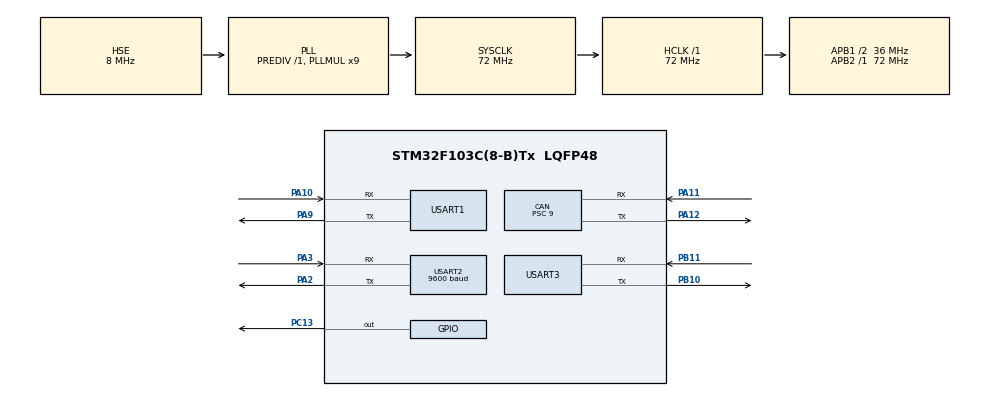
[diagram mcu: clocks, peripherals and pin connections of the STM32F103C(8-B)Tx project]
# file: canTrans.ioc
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CAN.BS1=CAN_BS1_5TQ
CAN.BS2=CAN_BS2_2TQ
CAN.CalculateBaudRate=500000
CAN.CalculateTimeBit=2000
CAN.CalculateTimeQuantum=250.0
CAN.Prescaler=9
FREERTOS.Tasks01=Task01,0,128,StartTask01,Default,NULL,Dynamic,NULL,NULL
Mcu.Family=STM32F1
Mcu.Name=STM32F103C(8-B)Tx
Mcu.Package=LQFP48
NVIC.PriorityGroup=NVIC_PRIORITYGROUP_4
NVIC.TIM3_IRQn=true\:15\:0\:false\:false\:true\:false\:false\:true\:true
NVIC.TimeBase=TIM3_IRQn
NVIC.TimeBaseIP=TIM3
NVIC.USB_LP_CAN1_RX0_IRQn=true\:5\:0\:false\:false\:true\:true\:true\:true\:true
PA10.Mode=Asynchronous
PA10.Signal=USART1_RX
PA11.Mode=CAN_Activate
PA11.Signal=CAN_RX
PA12.Mode=CAN_Activate
PA12.Signal=CAN_TX
PA13.Mode=Serial_Wire
PA13.Signal=SYS_JTMS-SWDIO
PA14.Mode=Serial_Wire
PA14.Signal=SYS_JTCK-SWCLK
PA2.Mode=Asynchronous
PA2.Signal=USART2_TX
PA3.Mode=Asynchronous
PA3.Signal=USART2_RX
PA9.Mode=Asynchronous
PA9.Signal=USART1_TX
PB10.Mode=Asynchronous
PB10.Signal=USART3_TX
PB11.Mode=Asynchronous
PB11.Signal=USART3_RX
PC13-TAMPER-RTC.Signal=GPIO_Output
PD0-OSC_IN.Mode=HSE-External-Oscillator
PD0-OSC_IN.Signal=RCC_OSC_IN
PD1-OSC_OUT.Mode=HSE-External-Oscillator
PD1-OSC_OUT.Signal=RCC_OSC_OUT
ProjectManager.HeapSize=0x200
ProjectManager.StackSize=0x400
ProjectManager.TargetToolchain=MDK-ARM V5.32
RCC.AHBFreq_Value=72000000
RCC.APB1CLKDivider=RCC_HCLK_DIV2
RCC.APB1Freq_Value=36000000
RCC.APB1TimFreq_Value=72000000
RCC.APB2Freq_Value=72000000
RCC.APB2TimFreq_Value=72000000
RCC.HCLKFreq_Value=72000000
RCC.PLLMUL=RCC_PLL_MUL9
RCC.PLLSourceVirtual=RCC_PLLSOURCE_HSE
RCC.SYSCLKFreq_VALUE=72000000
RCC.SYSCLKSource=RCC_SYSCLKSOURCE_PLLCLK
RCC.USBFreq_Value=72000000
USART1.VirtualMode=VM_ASYNC
USART2.BaudRate=9600
USART2.VirtualMode=VM_ASYNC
USART3.VirtualMode=VM_ASYNC
VP_FREERTOS_VS_CMSIS_V1.Mode=CMSIS_V1
VP_SYS_VS_tim3.Mode=TIM3
board=custom

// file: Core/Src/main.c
/* USER CODE BEGIN Header */
/**
  ******************************************************************************
  * @file           : main.c
  * @brief          : Main program body
  ******************************************************************************
  * @attention
  *
  * Copyright (c) 2025 STMicroelectronics.
  * All rights reserved.
  *
  * This software is licensed under terms that can be found in the LICENSE file
  * in the root directory of this software component.
  * If no LICENSE file comes with this software, it is provided AS-IS.
  *
  ******************************************************************************
  */
/* USER CODE END Header */
#include "main.h"
#include "cmsis_os.h"

/* USER CODE BEGIN Includes */
#include "stdarg.h"
#include "string.h"
/* USER CODE END Includes */

CAN_HandleTypeDef hcan;

UART_HandleTypeDef huart1;
UART_HandleTypeDef huart2;
UART_HandleTypeDef huart3;

osThreadId Task01Handle;

void SystemClock_Config(void);
static void MX_GPIO_Init(void);
static void MX_CAN_Init(void);
static void MX_USART1_UART_Init(void);
static void MX_USART2_UART_Init(void);
static void MX_USART3_UART_Init(void);
void StartTask01(void const * argument);

/* USER CODE BEGIN PFP */
char buff[80];
void mPrint(const char* format, ...){
    va_list args;
    va_start(args, format);
    vsnprintf(buff, sizeof(buff), format, args);
    va_end(args);
    HAL_UART_Transmit(&huart1, (uint8_t*)buff, strlen(buff), 1000);

}
/* USER CODE END PFP */

/* USER CODE BEGIN 0 */
CAN_RxHeaderTypeDef rxHeader; //CAN Bus Transmit Header
CAN_TxHeaderTypeDef txHeader; //CAN Bus Receive Header
uint8_t canRX[8] = {0,0,0,0,0,0,0,0};  //CAN Bus Receive Buffer
CAN_FilterTypeDef canfil; //CAN Bus Filter
uint32_t canMailbox; //CAN Bus Mail box variable
/* USER CODE END 0 */

int main(void)
{

  /* MCU Configuration--------------------------------------------------------*/

  /* Reset of all peripherals, Initializes the Flash interface and the Systick. */
  HAL_Init();

  /* Configure the system clock */
  SystemClock_Config();

  /* Initialize all configured peripherals */
  MX_GPIO_Init();
  MX_CAN_Init();
  MX_USART1_UART_Init();
  MX_USART2_UART_Init();
  MX_USART3_UART_Init();
  /* USER CODE BEGIN 2 */
	HAL_GPIO_WritePin(GPIOC, GPIO_PIN_13, GPIO_PIN_SET);
  canfil.FilterBank = 0;
  canfil.FilterMode = CAN_FILTERMODE_IDMASK;
  canfil.FilterFIFOAssignment = CAN_RX_FIFO0;
  canfil.FilterIdHigh = 0;
  canfil.FilterIdLow = 0;
  canfil.FilterMaskIdHigh = 0;
  canfil.FilterMaskIdLow = 0;
  canfil.FilterScale = CAN_FILTERSCALE_32BIT;
  canfil.FilterActivation = ENABLE;
  canfil.SlaveStartFilterBank = 14;
    txHeader.DLC = 8;
  txHeader.IDE = CAN_ID_STD;
  txHeader.RTR = CAN_RTR_DATA;
  txHeader.StdId = 0x040;
  txHeader.ExtId = 0x03;
  txHeader.TransmitGlobalTime = DISABLE;
  // Config filter TRƯỚC khi start CAN
  HAL_CAN_ConfigFilter(&hcan,&canfil);
  HAL_CAN_Start(&hcan);
  HAL_CAN_ActivateNotification(&hcan,CAN_IT_RX_FIFO0_MSG_PENDING);

  /* USER CODE END 2 */

  /* Create the thread(s) */
  /* definition and creation of Task01 */
  osThreadDef(Task01, StartTask01, osPriorityNormal, 0, 128);
  Task01Handle = osThreadCreate(osThread(Task01), NULL);

  /* Start scheduler */
  osKernelStart();

  /* We should never get here as control is now taken by the scheduler */

  /* Infinite loop */
  /* USER CODE BEGIN WHILE */
  while (1)
  {

    /* USER CODE BEGIN 3 */
    /* USER CODE END WHILE */

    /* USER CODE BEGIN 3 */
		    /* USER CODE END WHILE */
/* uint8_t csend[] = {0x01,0x02,0x03,0x04,0x05,0x06,0x07,0x13};
	  HAL_CAN_AddTxMessage(&hcan,&txHeader,csend,&canMailbox);*/
/* mPrint("TX ID:%03X DLC:%d Data:", txHeader.StdId, txHeader.DLC);

for(int i = 0; i < txHeader.DLC; i++){
    mPrint("%02X ", csend[i]);
}

mPrint("\r\n");*/
HAL_Delay(2000);
  }
  /* USER CODE END 3 */
}

void SystemClock_Config(void)
{
  RCC_OscInitTypeDef RCC_OscInitStruct = {0};
  RCC_ClkInitTypeDef RCC_ClkInitStruct = {0};

  /** Initializes the RCC Oscillators according to the specified parameters
  * in the RCC_OscInitTypeDef structure.
  */
  RCC_OscInitStruct.OscillatorType = RCC_OSCILLATORTYPE_HSE;
  RCC_OscInitStruct.HSEState = RCC_HSE_ON;
  RCC_OscInitStruct.HSEPredivValue = RCC_HSE_PREDIV_DIV1;
  RCC_OscInitStruct.HSIState = RCC_HSI_ON;
  RCC_OscInitStruct.PLL.PLLState = RCC_PLL_ON;
  RCC_OscInitStruct.PLL.PLLSource = RCC_PLLSOURCE_HSE;
  RCC_OscInitStruct.PLL.PLLMUL = RCC_PLL_MUL9;
  if (HAL_RCC_OscConfig(&RCC_OscInitStruct) != HAL_OK)
  {
    Error_Handler();
  }

  /** Initializes the CPU, AHB and APB buses clocks
  */
  RCC_ClkInitStruct.ClockType = RCC_CLOCKTYPE_HCLK|RCC_CLOCKTYPE_SYSCLK
                              |RCC_CLOCKTYPE_PCLK1|RCC_CLOCKTYPE_PCLK2;
  RCC_ClkInitStruct.SYSCLKSource = RCC_SYSCLKSOURCE_PLLCLK;
  RCC_ClkInitStruct.AHBCLKDivider = RCC_SYSCLK_DIV1;
  RCC_ClkInitStruct.APB1CLKDivider = RCC_HCLK_DIV2;
  RCC_ClkInitStruct.APB2CLKDivider = RCC_HCLK_DIV1;

  if (HAL_RCC_ClockConfig(&RCC_ClkInitStruct, FLASH_LATENCY_2) != HAL_OK)
  {
    Error_Handler();
  }
}

static void MX_CAN_Init(void)
{

  /* USER CODE BEGIN CAN_Init 1 */
__HAL_RCC_CAN1_CLK_ENABLE();
  /* USER CODE END CAN_Init 1 */
  hcan.Instance = CAN1;
  hcan.Init.Prescaler = 9;
  hcan.Init.Mode = CAN_MODE_NORMAL;
  hcan.Init.SyncJumpWidth = CAN_SJW_1TQ;
  hcan.Init.TimeSeg1 = CAN_BS1_5TQ;
  hcan.Init.TimeSeg2 = CAN_BS2_2TQ;
  hcan.Init.TimeTriggeredMode = DISABLE;
  hcan.Init.AutoBusOff = DISABLE;
  hcan.Init.AutoWakeUp = DISABLE;
  hcan.Init.AutoRetransmission = DISABLE;
  hcan.Init.ReceiveFifoLocked = DISABLE;
  hcan.Init.TransmitFifoPriority = DISABLE;
  if (HAL_CAN_Init(&hcan) != HAL_OK)
  {
    Error_Handler();
  }

}

static void MX_USART1_UART_Init(void)
{

  huart1.Instance = USART1;
  huart1.Init.BaudRate = 115200;
  huart1.Init.WordLength = UART_WORDLENGTH_8B;
  huart1.Init.StopBits = UART_STOPBITS_1;
  huart1.Init.Parity = UART_PARITY_NONE;
  huart1.Init.Mode = UART_MODE_TX_RX;
  huart1.Init.HwFlowCtl = UART_HWCONTROL_NONE;
  huart1.Init.OverSampling = UART_OVERSAMPLING_16;
  if (HAL_UART_Init(&huart1) != HAL_OK)
  {
    Error_Handler();
  }

}

static void MX_USART2_UART_Init(void)
{

  huart2.Instance = USART2;
  huart2.Init.BaudRate = 9600;
  huart2.Init.WordLength = UART_WORDLENGTH_8B;
  huart2.Init.StopBits = UART_STOPBITS_1;
  huart2.Init.Parity = UART_PARITY_NONE;
  huart2.Init.Mode = UART_MODE_TX_RX;
  huart2.Init.HwFlowCtl = UART_HWCONTROL_NONE;
  huart2.Init.OverSampling = UART_OVERSAMPLING_16;
  if (HAL_UART_Init(&huart2) != HAL_OK)
  {
    Error_Handler();
  }

}

static void MX_USART3_UART_Init(void)
{

  huart3.Instance = USART3;
  huart3.Init.BaudRate = 115200;
  huart3.Init.WordLength = UART_WORDLENGTH_8B;
  huart3.Init.StopBits = UART_STOPBITS_1;
  huart3.Init.Parity = UART_PARITY_NONE;
  huart3.Init.Mode = UART_MODE_TX_RX;
  huart3.Init.HwFlowCtl = UART_HWCONTROL_NONE;
  huart3.Init.OverSampling = UART_OVERSAMPLING_16;
  if (HAL_UART_Init(&huart3) != HAL_OK)
  {
    Error_Handler();
  }

}

static void MX_GPIO_Init(void)
{

  /* USER CODE BEGIN MX_GPIO_Init_1 */
GPIO_InitTypeDef GPIO_InitStruct = {0};
  /* USER CODE END MX_GPIO_Init_1 */

  /* GPIO Ports Clock Enable */
  __HAL_RCC_GPIOC_CLK_ENABLE();
  __HAL_RCC_GPIOD_CLK_ENABLE();
  __HAL_RCC_GPIOA_CLK_ENABLE();
  __HAL_RCC_GPIOB_CLK_ENABLE();

  /*Configure GPIO pin Output Level */
  HAL_GPIO_WritePin(GPIOC, GPIO_PIN_13, GPIO_PIN_RESET);

  /*Configure GPIO pin : PC13 */
  GPIO_InitStruct.Pin = GPIO_PIN_13;
  GPIO_InitStruct.Mode = GPIO_MODE_OUTPUT_PP;
  GPIO_InitStruct.Pull = GPIO_NOPULL;
  GPIO_InitStruct.Speed = GPIO_SPEED_FREQ_LOW;
  HAL_GPIO_Init(GPIOC, &GPIO_InitStruct);

  /* USER CODE BEGIN MX_GPIO_Init_2 */
// CAN_RX PA11
    GPIO_InitStruct.Pin = GPIO_PIN_11;
    GPIO_InitStruct.Mode = GPIO_MODE_INPUT;
    GPIO_InitStruct.Pull = GPIO_PULLUP;  // Pull-up để tránh floating, cần cho Rx
    HAL_GPIO_Init(GPIOA, &GPIO_InitStruct);

    // CAN_TX PA12
    GPIO_InitStruct.Pin = GPIO_PIN_12;
    GPIO_InitStruct.Mode = GPIO_MODE_AF_PP;
    GPIO_InitStruct.Speed = GPIO_SPEED_FREQ_HIGH;
    GPIO_InitStruct.Pull = GPIO_NOPULL;
    HAL_GPIO_Init(GPIOA, &GPIO_InitStruct);
  /* USER CODE END MX_GPIO_Init_2 */
}

/* USER CODE BEGIN 4 */
void HAL_CAN_RxFifo0MsgPendingCallback(CAN_HandleTypeDef *hcan1)
{
    HAL_CAN_GetRxMessage(hcan1, CAN_RX_FIFO0, &rxHeader, canRX);

    HAL_GPIO_TogglePin(GPIOC, GPIO_PIN_13);

    // Ghi log qua UART (có thể delay tí)
    mPrint("RX ID:%03X DLC:%d Data:", rxHeader.StdId, rxHeader.DLC);
    for(int i = 0; i < rxHeader.DLC; i++){
        mPrint("%02X ", canRX[i]);
    }
    mPrint("\r\n");
}

/* USER CODE END 4 */

void StartTask01(void const * argument)
{
  for(;;)
  {
    osDelay(1);
  }
}

void HAL_TIM_PeriodElapsedCallback(TIM_HandleTypeDef *htim)
{
  if (htim->Instance == TIM3)
  {
    HAL_IncTick();
  }
}

void Error_Handler(void)
{
  __disable_irq();
  while (1)
  {
  }
}
